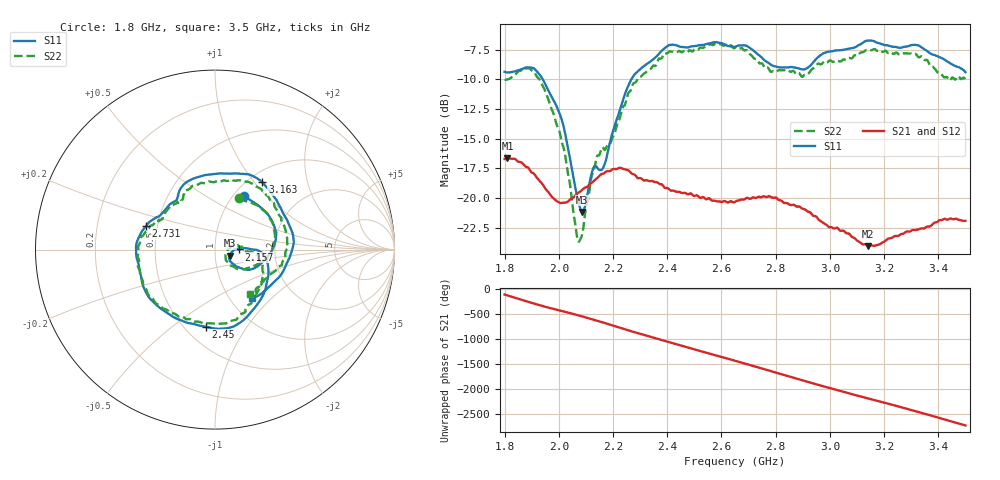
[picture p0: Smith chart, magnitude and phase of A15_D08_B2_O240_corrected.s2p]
! Created with skrf 1.9.0 (http://scikit-rf.org).
# Hz S RI R 50.0
!freq ReS11 ImS11 ReS21 ImS21 ReS12 ImS12 ReS22 ImS22
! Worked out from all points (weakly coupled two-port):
!   1601 points, 1.8 GHz to 3.5 GHz, reference 50 ohm
!   highest |S21| = -16.64 dB at 1.811 GHz (marker M1); lowest = -24.1 dB at 3.142 GHz (marker M2)
!   lowest |S11| = -21.2 dB at 2.087 GHz (marker M3), VSWR 1.19, Z = 58.7 - j3.9 ohm
!   |S11| at or under -10 dB: 1.941 GHz to 2.267 GHz (326.4 MHz wide, 15.5 % of centre)
!   |S22| runs from -23.7 to -6.9 dB; largest |S21 - S12| = 0.0029
!   S11 on the Smith chart (normalised r, x): 1.8 GHz: 1.12, +0.76; 2.157 GHz: 1.30, +0.00; 2.45 GHz: 0.63, -0.67; 2.731 GHz: 0.43, +0.14; 3.163 GHz: 1.16, +1.10; 3.5 GHz: 1.27, -0.77
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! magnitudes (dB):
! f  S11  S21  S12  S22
! 1.8 GHz  -9.4  -16.7  -16.7  -10.0
! 1.811 GHz  -9.4  -16.6  -16.6  -10.0
! 1.887 GHz  -9.0  -17.4  -17.5  -9.0
! 1.941 GHz  -10.0  -18.9  -18.9  -10.6
! 2.011 GHz  -13.4  -20.4  -20.4  -15.3
! 2.067 GHz  -19.8  -19.6  -19.7  -23.2
! 2.084 GHz  -21.1  -19.4  -19.3  -23.2
! 2.087 GHz  -21.2  -19.3  -19.3  -23.0
! 2.127 GHz  -17.5  -18.6  -18.6  -17.8
! 2.157 GHz  -17.6  -18.0  -18.0  -15.9
! 2.195 GHz  -14.7  -17.6  -17.6  -15.1
! 2.263 GHz  -10.2  -17.8  -17.8  -11.0
! 2.367 GHz  -7.9  -18.7  -18.7  -8.3
! 2.45 GHz  -7.3  -19.5  -19.5  -7.7
! 2.65 GHz  -7.2  -20.3  -20.3  -7.3
! 2.731 GHz  -7.8  -20.0  -20.0  -8.3
! 2.934 GHz  -8.7  -21.4  -21.4  -9.1
! 3.142 GHz  -6.7  -24.1  -24.0  -7.5
! 3.163 GHz  -6.8  -24.0  -24.0  -7.4
! 3.217 GHz  -7.2  -23.4  -23.4  -7.8
! 3.326 GHz  -7.1  -22.6  -22.6  -8.1
! 3.5 GHz  -9.4  -21.9  -21.9  -10.0
